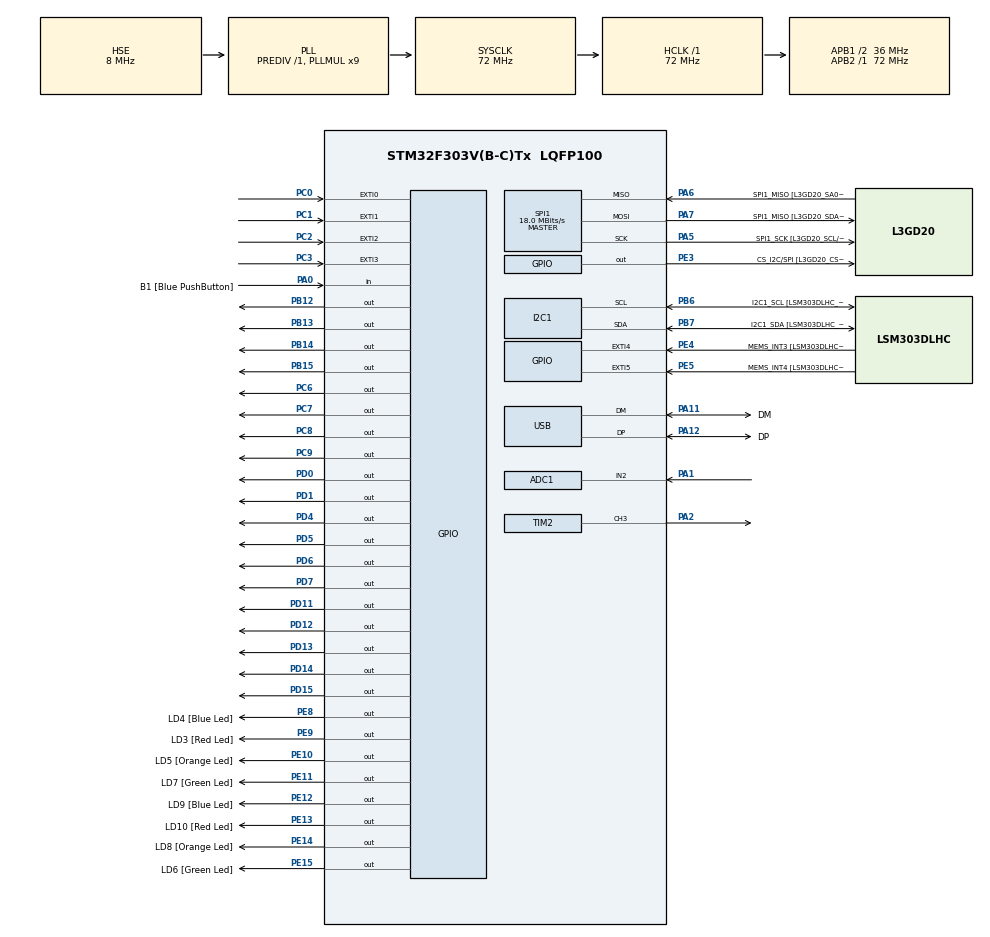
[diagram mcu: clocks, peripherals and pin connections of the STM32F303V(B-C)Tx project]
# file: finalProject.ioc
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ADC1.Channel-0\#ChannelRegularConversion=ADC_CHANNEL_2
ADC1.ContinuousConvMode=DISABLE
ADC1.NbrOfConversionFlag=1
ADC1.Offset-0\#ChannelRegularConversion=0
ADC1.OffsetNumber-0\#ChannelRegularConversion=ADC_OFFSET_NONE
ADC1.Rank-0\#ChannelRegularConversion=1
ADC1.Resolution=ADC_RESOLUTION_6B
ADC1.SamplingTime-0\#ChannelRegularConversion=ADC_SAMPLETIME_601CYCLES_5
ADC1.SamplingTimeOPAMP-0\#ChannelRegularConversion=ADC_SAMPLETIME_61CYCLES_5
ADC1.master=1
I2C1.Timing-I2C=0x2000090E
Mcu.Family=STM32F3
Mcu.Name=STM32F303V(B-C)Tx
Mcu.Package=LQFP100
NVIC.ADC1_2_IRQn=true\:1\:0\:true\:false\:true\:true\:true
NVIC.EXTI0_IRQn=true\:2\:0\:true\:false\:true\:true\:true
NVIC.EXTI1_IRQn=true\:2\:0\:true\:false\:true\:true\:true
NVIC.EXTI2_TSC_IRQn=true\:2\:0\:true\:false\:true\:true\:true
NVIC.EXTI3_IRQn=true\:2\:0\:true\:false\:true\:true\:true
NVIC.PriorityGroup=NVIC_PRIORITYGROUP_2
NVIC.TIM1_BRK_TIM15_IRQn=true\:1\:0\:true\:false\:true\:true\:true
NVIC.TIM3_IRQn=true\:3\:0\:true\:false\:true\:true\:true
NVIC.TIM4_IRQn=true\:2\:0\:true\:false\:true\:true\:true
PA0.GPIO_Label=B1 [Blue PushButton]
PA0.GPIO_PuPd=GPIO_PULLDOWN
PA0.Signal=GPIO_Input
PA1.Mode=IN2-Single-Ended
PA1.Signal=ADC1_IN2
PA11.GPIO_Label=DM
PA11.Mode=Device
PA11.Signal=USB_DM
PA12.GPIO_Label=DP
PA12.Mode=Device
PA12.Signal=USB_DP
PA13.GPIO_Label=SWDIO
PA13.Mode=Serial_Wire
PA13.Signal=SYS_JTMS-SWDIO
PA14.GPIO_Label=SWCLK
PA14.Mode=Serial_Wire
PA14.Signal=SYS_JTCK-SWCLK
PA2.Signal=S_TIM2_CH3
PA5.GPIO_Label=SPI1_SCK [L3GD20_SCL/SPC]
PA5.Mode=Full_Duplex_Master
PA5.Signal=SPI1_SCK
PA6.GPIO_Label=SPI1_MISO [L3GD20_SA0/SDO]
PA6.Mode=Full_Duplex_Master
PA6.Signal=SPI1_MISO
PA7.GPIO_Label=SPI1_MISO [L3GD20_SDA/SDI/SDO]
PA7.Mode=Full_Duplex_Master
PA7.Signal=SPI1_MOSI
PB12.GPIO_ModeDefaultOutputPP=GPIO_MODE_OUTPUT_PP
PB12.GPIO_PuPd=GPIO_PULLDOWN
PB12.GPIO_Speed=GPIO_SPEED_FREQ_MEDIUM
PB12.PinState=GPIO_PIN_RESET
PB12.Signal=GPIO_Output
PB13.GPIO_ModeDefaultOutputPP=GPIO_MODE_OUTPUT_PP
PB13.GPIO_PuPd=GPIO_PULLDOWN
PB13.GPIO_Speed=GPIO_SPEED_FREQ_MEDIUM
PB13.PinState=GPIO_PIN_RESET
PB13.Signal=GPIO_Output
PB14.GPIO_ModeDefaultOutputPP=GPIO_MODE_OUTPUT_PP
PB14.GPIO_PuPd=GPIO_PULLDOWN
PB14.GPIO_Speed=GPIO_SPEED_FREQ_MEDIUM
PB14.PinState=GPIO_PIN_RESET
PB14.Signal=GPIO_Output
PB15.GPIO_ModeDefaultOutputPP=GPIO_MODE_OUTPUT_PP
PB15.GPIO_PuPd=GPIO_PULLDOWN
PB15.GPIO_Speed=GPIO_SPEED_FREQ_MEDIUM
PB15.PinState=GPIO_PIN_RESET
PB15.Signal=GPIO_Output
PB3.GPIO_Label=SWO
PB3.Signal=SYS_JTDO-TRACESWO
PB6.GPIO_Label=I2C1_SCL [LSM303DLHC_SCL]
PB6.GPIO_Pu=GPIO_PULLUP
PB6.Mode=I2C
PB6.Signal=I2C1_SCL
PB7.GPIO_Label=I2C1_SDA [LSM303DLHC_SDA]
PB7.GPIO_Pu=GPIO_PULLUP
PB7.Mode=I2C
PB7.Signal=I2C1_SDA
PC0.GPIO_ModeDefaultEXTI=GPIO_MODE_IT_RISING
PC0.GPIO_PuPd=GPIO_PULLDOWN
PC0.Signal=GPXTI0
PC1.GPIO_ModeDefaultEXTI=GPIO_MODE_IT_RISING
PC1.GPIO_PuPd=GPIO_PULLDOWN
PC1.Signal=GPXTI1
PC14-OSC32_IN.GPIO_Label=OSC32_IN
PC14-OSC32_IN.Signal=RCC_OSC32_IN
PC15-OSC32_OUT.GPIO_Label=OSC32_OUT
PC15-OSC32_OUT.Signal=RCC_OSC32_OUT
PC2.GPIO_ModeDefaultEXTI=GPIO_MODE_IT_RISING
PC2.GPIO_PuPd=GPIO_PULLDOWN
PC2.Signal=GPXTI2
PC3.GPIO_ModeDefaultEXTI=GPIO_MODE_IT_RISING
PC3.GPIO_PuPd=GPIO_PULLDOWN
PC3.Signal=GPXTI3
PC6.Signal=GPIO_Output
PC7.Signal=GPIO_Output
PC8.Signal=GPIO_Output
PC9.Signal=GPIO_Output
PD0.GPIO_ModeDefaultOutputPP=GPIO_MODE_OUTPUT_PP
PD0.GPIO_PuPd=GPIO_PULLDOWN
PD0.GPIO_Speed=GPIO_SPEED_FREQ_MEDIUM
PD0.PinState=GPIO_PIN_RESET
PD0.Signal=GPIO_Output
PD1.GPIO_ModeDefaultOutputPP=GPIO_MODE_OUTPUT_PP
PD1.GPIO_PuPd=GPIO_PULLDOWN
PD1.GPIO_Speed=GPIO_SPEED_FREQ_MEDIUM
PD1.PinState=GPIO_PIN_RESET
PD1.Signal=GPIO_Output
PD11.Signal=GPIO_Output
PD12.Signal=GPIO_Output
PD13.Signal=GPIO_Output
PD14.Signal=GPIO_Output
PD15.Signal=GPIO_Output
PD4.GPIO_ModeDefaultOutputPP=GPIO_MODE_OUTPUT_PP
PD4.GPIO_PuPd=GPIO_PULLDOWN
PD4.GPIO_Speed=GPIO_SPEED_FREQ_MEDIUM
PD4.PinState=GPIO_PIN_RESET
PD4.Signal=GPIO_Output
PD5.GPIO_ModeDefaultOutputPP=GPIO_MODE_OUTPUT_PP
PD5.GPIO_PuPd=GPIO_PULLDOWN
PD5.GPIO_Speed=GPIO_SPEED_FREQ_MEDIUM
PD5.PinState=GPIO_PIN_RESET
PD5.Signal=GPIO_Output
PD6.GPIO_ModeDefaultOutputPP=GPIO_MODE_OUTPUT_PP
PD6.GPIO_PuPd=GPIO_PULLDOWN
PD6.GPIO_Speed=GPIO_SPEED_FREQ_MEDIUM
PD6.PinState=GPIO_PIN_RESET
PD6.Signal=GPIO_Output
PD7.GPIO_ModeDefaultOutputPP=GPIO_MODE_OUTPUT_PP
PD7.GPIO_PuPd=GPIO_PULLDOWN
PD7.GPIO_Speed=GPIO_SPEED_FREQ_MEDIUM
PD7.PinState=GPIO_PIN_RESET
PD7.Signal=GPIO_Output
PE10.GPIO_Label=LD5 [Orange Led]
PE10.Signal=GPIO_Output
PE11.GPIO_Label=LD7 [Green Led]
PE11.Signal=GPIO_Output
PE12.GPIO_Label=LD9 [Blue Led]
PE12.Signal=GPIO_Output
PE13.GPIO_Label=LD10 [Red Led]
PE13.Signal=GPIO_Output
PE14.GPIO_Label=LD8 [Orange Led]
PE14.Signal=GPIO_Output
PE15.GPIO_Label=LD6 [Green Led]
PE15.Signal=GPIO_Output
PE3.GPIO_Label=CS_I2C/SPI [L3GD20_CS_I2C/SPI]
PE3.Signal=GPIO_Output
PE4.GPIO_Label=MEMS_INT3 [LSM303DLHC_INT1]
PE4.GPIO_ModeDefaultEXTI=GPIO_MODE_EVT_RISING
PE4.Signal=GPXTI4
PE5.GPIO_Label=MEMS_INT4 [LSM303DLHC_INT2]
PE5.GPIO_ModeDefaultEXTI=GPIO_MODE_EVT_RISING
PE5.Signal=GPXTI5
PE8.GPIO_Label=LD4 [Blue Led]
PE8.Signal=GPIO_Output
PE9.GPIO_Label=LD3 [Red Led]
PE9.Signal=GPIO_Output
PF0-OSC_IN.GPIO_Label=OSC_IN
PF0-OSC_IN.Mode=HSE-External-Clock-Source
PF0-OSC_IN.Signal=RCC_OSC_IN
PF1-OSC_OUT.GPIO_Label=OSC_OUT
PF1-OSC_OUT.Signal=RCC_OSC_OUT
ProjectManager.HeapSize=0x200
ProjectManager.StackSize=0x400
ProjectManager.TargetToolchain=STM32CubeIDE
RCC.AHBFreq_Value=72000000
RCC.APB1CLKDivider=RCC_HCLK_DIV2
RCC.APB1Freq_Value=36000000
RCC.APB1TimFreq_Value=72000000
RCC.APB2Freq_Value=72000000
RCC.APB2TimFreq_Value=72000000
RCC.CortexFreq_Value=72000000
RCC.HCLKFreq_Value=72000000
RCC.HSE_VALUE=8000000
RCC.HSI_VALUE=8000000
RCC.LSE_VALUE=32768
RCC.PLLMUL=RCC_PLL_MUL9
RCC.PRESCALERUSB=RCC_USBCLKSOURCE_PLL_DIV1_5
RCC.SYSCLKFreq_VALUE=72000000
RCC.SYSCLKSourceVirtual=RCC_SYSCLKSOURCE_PLLCLK
RCC.USBFreq_Value=48000000
SH.S_TIM2_CH3.0=TIM2_CH3,PWM Generation3 CH3
SPI1.BaudRatePrescaler=SPI_BAUDRATEPRESCALER_4
SPI1.BaudRatePrescaler-Full_Duplex_Master=SPI_BAUDRATEPRESCALER_2
SPI1.CalculateBaudRate=18.0 MBits/s
SPI1.CalculateBaudRate-Full_Duplex_Master=24.0 MBits/s
SPI1.Direction=SPI_DIRECTION_2LINES
SPI1.Mode=SPI_MODE_MASTER
SPI1.Mode-Full_Duplex_Master=SPI_MODE_MASTER
SPI1.VirtualType=VM_MASTER
TIM1.Period=10000-1
TIM1.Prescaler=720-1
TIM2.Channel-PWM\ Generation3\ CH3=TIM_CHANNEL_3
TIM2.Period=1000-1
TIM2.Prescaler=72-1
TIM3.Period=10000-1
TIM3.Prescaler=72-1
TIM4.Period=10000-1
TIM4.Prescaler=7200-1
VP_TIM1_VS_ClockSourceINT.Mode=Internal
VP_TIM3_VS_ClockSourceINT.Mode=Internal
VP_TIM4_VS_ClockSourceINT.Mode=Internal
board=STM32F3DISCOVERY

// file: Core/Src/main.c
/* USER CODE BEGIN Header */
/**
  ******************************************************************************
  * @file           : main.c
  * @brief          : Main program body
  ******************************************************************************
  * @attention
  *
  * <h2><center>&copy; Copyright (c) 2022 STMicroelectronics.
  * All rights reserved.</center></h2>
  *
  * This software component is licensed by ST under BSD 3-Clause license,
  * the "License"; You may not use this file except in compliance with the
  * License. You may obtain a copy of the License at:
  *                        opensource.org/licenses/BSD-3-Clause
  *
  ******************************************************************************
  */
/* USER CODE END Header */
#include "main.h"

/* USER CODE BEGIN Includes */
#include "LiquidCrystal.h"
#include <stdbool.h>
#include "Buzzer.h"

#include <stdio.h>
//#include <stdlib.h>
/* USER CODE END Includes */

ADC_HandleTypeDef hadc1;

I2C_HandleTypeDef hi2c1;

SPI_HandleTypeDef hspi1;

TIM_HandleTypeDef htim1;
TIM_HandleTypeDef htim2;
TIM_HandleTypeDef htim3;
TIM_HandleTypeDef htim4;

PCD_HandleTypeDef hpcd_USB_FS;

void SystemClock_Config(void);
static void MX_GPIO_Init(void);
static void MX_I2C1_Init(void);
static void MX_SPI1_Init(void);
static void MX_USB_PCD_Init(void);
static void MX_ADC1_Init(void);
static void MX_TIM2_Init(void);
static void MX_TIM3_Init(void);
static void MX_TIM4_Init(void);
static void MX_TIM1_Init(void);

/* USER CODE BEGIN 0 */

typedef unsigned char byte;

byte doodler[] = {
    0x00,
    0x04,
    0x15,
    0x0F,
    0x15,
    0x04,
    0x00,
    0x00};

byte stair[] = {
    0x06,
    0x06,
    0x06,
    0x06,
    0x06,
    0x06,
    0x06,
    0x06};

byte brokenStair[] = {
    0x06,
    0x06,
    0x06,
    0x00,
    0x00,
    0x06,
    0x06,
    0x06};

byte coil[] = {
    0x00,
    0x00,
    0x1F,
    0x15,
    0x15,
    0x1F,
    0x00,
    0x00};

byte hole[] = {
    0x00,
    0x1F,
    0x10,
    0x10,
    0x10,
    0x10,
    0x1F,
    0x00};

byte monster[] = {
    0x0A,
    0x04,
    0x0E,
    0x0A,
    0x0A,
    0x0E,
    0x04,
    0x0A
};

byte shotCharactor[] = {
  0x00,
  0x00,
  0x0E,
  0x0E,
  0x0E,
  0x0E,
  0x00,
  0x00
};

int board[20][4];
int score = 0;
int difficulty = 5;
int doodlerPosition[2] = {0, 0};
int doodlerDisplacementCount = 1;
int downStatus = 0;
int upStatus = 7;
int lastPosition [2];
int newPosition [2];
int realCharactorInCurrentPosition = -1;
int startMoveDown = 0;
int lockMoving = 1;
int isInOverViewPage = 1;
int isInMenu = 0;
int isInMembersPage = 0;
int isGameStarted = 0;
int isShotInScreen = 0;
int shotPosition[2];
int realCharactorInShotPosiotion;

#define EMPTY_CELL_NUM  -1
#define DOODLER_NUM  0
#define STAIR_NUM  1
#define BROKEN_STAIR_NUM  2
#define COIL_NUM  3
#define HOLE_NUM 4
#define MONSTER_NUM  5
#define SHOT_NUM 6
#define REMOVE  0
#define MOVE  1
#define WRITE  2
#define NORMAL_DOWN_STATUS  0
#define MONSTER_DOWN_STATUS  1
#define NORMAL_UP_STATUS 7
#define COIL_UP_STATUS  15
#define LEFT  -1
#define RIGHT  1
char buffer[32];
int x=5234;
int y=1;

void genarateBoard(int blankRow);
/////////////////////////////kepad////////////////////
uint32_t now = 0;

void initBoard(){
	for (int i=0;i<20;i++){
		for (int j=0;j<4;j++){
			board[i][j]=-1;
		}
	}
}

void shot(){
  realCharactorInShotPosiotion = board[doodlerPosition[0] + 2][doodlerPosition[1]];
  setCursor(doodlerPosition[0] +2, doodlerPosition[1]);
  shotPosition[0] = doodlerPosition[0] +2;
  shotPosition[1] = doodlerPosition[1];
  if(realCharactorInShotPosiotion == MONSTER_NUM){
    print(" ");
    board[shotPosition[0]][shotPosition[1]] = EMPTY_CELL_NUM;
    isShotInScreen = 0;
  } else{
    write(SHOT_NUM);
    isShotInScreen = 1;
  }
}

void print1OnScreen(){
	setCursor(11, 1);
	write(-1);
	setCursor(12, 2);
	write(-1);
	setCursor(11, 2);
	write(-1);
	setCursor(10, 2);
	write(-1);
	setCursor(9, 2);
	write(-1);
	setCursor(8, 2);
	write(-1);
	setCursor(7, 2);
	write(-1);
	setCursor(6, 2);
	write(-1);
}

void print2OnScreen(){
	setCursor(12, 0);
	write(-1);
	setCursor(12, 1);
	write(-1);
	setCursor(12, 2);
	write(-1);
	setCursor(12, 3);
	write(-1);
	setCursor(11, 0);
	write(-1);
	setCursor(11, 3);
	write(-1);
	setCursor(10, 3);
	write(-1);
	setCursor(9, 0);
	write(-1);
	setCursor(9, 1);
	write(-1);
	setCursor(9, 2);
	write(-1);
	setCursor(9, 3);
	write(-1);
	setCursor(8, 0);
	write(-1);
	setCursor(7, 0);
	write(-1);
	setCursor(7, 3);
	write(-1);
	setCursor(6, 0);
	write(-1);
	setCursor(6, 1);
	write(-1);
	setCursor(6, 2);
	write(-1);
	setCursor(6, 3);
	write(-1);
}

void print3OnScreen(){
	setCursor(12, 1);
	write(-1);
	setCursor(12, 2);
	write(-1);
	setCursor(12, 3);
	write(-1);
	setCursor(11, 3);
	write(-1);
	setCursor(10, 3);
	write(-1);
	setCursor(9, 1);
	write(-1);
	setCursor(9, 2);
	write(-1);
	setCursor(9, 3);
	write(-1);
	setCursor(8, 3);
	write(-1);
	setCursor(7, 3);
	write(-1);
	setCursor(6, 1);
	write(-1);
	setCursor(6, 2);
	write(-1);
	setCursor(6, 3);
	write(-1);
}

void clearScreen() {
	for (int i = 0 ; i < 20; i++) {
		for(int j = 0; j < 4; j++) {
			setCursor(i, j);
			print(" ");
		}
	}
}

void startGame(){
	isInMenu = 0;
	clearScreen();
	print1OnScreen();
	clearScreen();
	print2OnScreen();
	clearScreen();
	print3OnScreen();
	clearScreen();
	genarateBoard(20);
	isGameStarted = 1;
	lockMoving = 0;
	HAL_TIM_Base_Start_IT(&htim4);
}

void showGameOverView(){
  isGameStarted = 0;
  lockMoving = 1;
  isInOverViewPage = 1;
  clear();
  setCursor(12,1);
  print("Doolde");
  setCursor(12,2);
  print("Jump");
  setCursor(3,1);
  write(DOODLER_NUM);
  setCursor(4,1);
  write(STAIR_NUM);
  setCursor(5,1);
  write(BROKEN_STAIR_NUM);
  setCursor(6,1);
  write(HOLE_NUM);
  setCursor(7,1);
  write(COIL_NUM);
  setCursor(8,1);
  write(MONSTER_NUM);
  setCursor(3,3);
  print("5.Menu");
//  BUZZER_Play_GameOfThrones();
}

void menu(){
  isInOverViewPage = 0;
  isInMembersPage = 0;
  isInMenu = 1;
  clear();
  setCursor(6,0);
  print("2.Start");
  setCursor(6,2);
  print("3.About");
}

void showGroupMembersName(){
  isInMenu = 0;
  isInMembersPage = 1;
  clear();
  setCursor(5,0);
  print("SaeedRahmani");
  setCursor(5,1);
  print("MohammadRaee");
  setCursor(8,3);
  print("6.Menu");
}

void changeBoard(int lastPosition [], int curPosotion [],int charNum , int moveOrRemoveOrWrite){
  if(moveOrRemoveOrWrite == MOVE){
    board[lastPosition[0]][lastPosition[1]] = EMPTY_CELL_NUM;
    board[curPosotion[0]][curPosotion[1]] = charNum;
  } else if(moveOrRemoveOrWrite == REMOVE){
    board[lastPosition[0]][lastPosition[1]] = EMPTY_CELL_NUM;
  } else if(moveOrRemoveOrWrite == WRITE){
    board[curPosotion[0]][curPosotion[1]] = charNum;
  }
}

void horizontalMoving(int direction){
  changeBoard(doodlerPosition,doodlerPosition,EMPTY_CELL_NUM,WRITE);
  setCursor(doodlerPosition[0],doodlerPosition[1]);
  print(" ");
  if(direction == LEFT){
    if(doodlerPosition[1] > 0){
      doodlerPosition[1] -= 1;
    }else {
      doodlerPosition[1] = 3;
    }
  }else {
    if(doodlerPosition[1] < 3){
      doodlerPosition[1] += 1;
    }else {
      doodlerPosition[1] = 0;
    }
  }
  changeBoard(doodlerPosition,doodlerPosition,DOODLER_NUM,WRITE);
  setCursor(doodlerPosition[0],doodlerPosition[1]);
  write(DOODLER_NUM);
}

void Rows_Set_Mode(uint8_t mode)
{
    HAL_GPIO_WritePin(GPIOB, GPIO_PIN_12, mode ? (GPIO_PIN_SET) : (GPIO_PIN_RESET));
    HAL_GPIO_WritePin(GPIOB, GPIO_PIN_13, mode ? (GPIO_PIN_SET) : (GPIO_PIN_RESET));
    HAL_GPIO_WritePin(GPIOB, GPIO_PIN_14, mode ? (GPIO_PIN_SET) : (GPIO_PIN_RESET));
    HAL_GPIO_WritePin(GPIOB, GPIO_PIN_15, mode ? (GPIO_PIN_SET) : (GPIO_PIN_RESET));
}

uint8_t Get_Pressed_Row(uint16_t GPIO_Pin)
{
	Rows_Set_Mode(0);
	HAL_GPIO_WritePin(GPIOB, GPIO_PIN_12, 1);
	if (HAL_GPIO_ReadPin(GPIOC, GPIO_Pin)==1){
		Rows_Set_Mode(1);
		return 0;

	}
	Rows_Set_Mode(0);
	HAL_GPIO_WritePin(GPIOB, GPIO_PIN_13, 1);
	if (HAL_GPIO_ReadPin(GPIOC, GPIO_Pin)==1){
		Rows_Set_Mode(1);
		return 1;
	}
	Rows_Set_Mode(0);
	HAL_GPIO_WritePin(GPIOB, GPIO_PIN_14, 1);
	if (HAL_GPIO_ReadPin(GPIOC, GPIO_Pin)==1){
		Rows_Set_Mode(1);
		return 2;
	}
	Rows_Set_Mode(0);
	HAL_GPIO_WritePin(GPIOB, GPIO_PIN_15, 1);
	if (HAL_GPIO_ReadPin(GPIOC, GPIO_Pin)==1){
		Rows_Set_Mode(1);
		return 3;
	}
	return 0;
}

void HAL_GPIO_EXTI_Callback(uint16_t GPIO_Pin)
{

	if((HAL_GetTick() - now ) < 600){
		return;
	}
	//LED On board
	HAL_GPIO_TogglePin(GPIOE, GPIO_PIN_8);

	int number = 0, row;
	row = Get_Pressed_Row(GPIO_Pin);
	switch(GPIO_Pin)
	{
		case GPIO_PIN_0:{
			number = 4 * row + 1;
			break;
		}

		case GPIO_PIN_1:{
			number = 4 * row + 2;
			break;
		}
		case GPIO_PIN_2:{
			number = 4 * row + 3;
			break;
		}
		case GPIO_PIN_3:{
			number = 4 * row + 4;
			break;
		}
	}
	Rows_Set_Mode(1);
	now = HAL_GetTick();
	if (number==1 && lockMoving == 0){
		horizontalMoving(LEFT);
	}
	else if(number == 2 && isInMenu == 1) {
		startGame();
	}
	else if(number == 3 && isInMenu == 1){
		showGroupMembersName();
	}
	else if (number==4 && lockMoving == 0){
		horizontalMoving(RIGHT);
	}
	else if (number==5 && isInOverViewPage == 1) {
		menu();
	}
	else if(number == 6 && isInMembersPage == 1){
		menu();
	} else if (number==8 && isShotInScreen==0){
		shot();
	}
}
/////////////////////////////end keypad//////////////////

//////////////////////////// 7 Segment ///////////////////
void numberToBCD(int i){
	int x1=i&1;
	int x2=i&2;
	int x3=i&4;
	int x4=i&8;
	if (x1>0) x1=1;
	if (x2>0) x2=1;
	if (x3>0) x3=1;
	if (x4>0) x4=1;

	HAL_GPIO_WritePin(GPIOD, GPIO_PIN_12, x1);
	HAL_GPIO_WritePin(GPIOD, GPIO_PIN_13, x2);
	HAL_GPIO_WritePin(GPIOD, GPIO_PIN_14, x3);
	HAL_GPIO_WritePin(GPIOD, GPIO_PIN_15, x4);
}

////////////////////////// end 7 segment//////////////////

uint32_t value = 0;
void HAL_ADC_ConvCpltCallback(ADC_HandleTypeDef *hadc)
{
  //	if(hadc->Instance == ADC1)
  //	{

  value = HAL_ADC_GetValue(hadc);
  int tmp=((int)value)%10;
  difficulty=3;
//  HAL_ADC_Start_IT(&hadc1);
  //	}
}

int getRandom(int maxNum){
  int rand_num= rand() % (maxNum);
  return rand_num;
}

void initialCharactorToBoard(int charCount, int charNum, int blankRow){
  for(int i = 0; i < charCount; i++){
    int sw = 1;
    while(sw){
      int row = getRandom(20);
      int col = getRandom(4);
      if(board[19-row][col] == -1){
        board[19-row][col] = charNum;
        sw = 0;
      }
    }
  }
}

int checkStairInsideDoodler(int accessRowCount){
  int sw = 1;
  for(int i = doodlerPosition[0];i<doodlerPosition[0] + accessRowCount && sw ==1;i++){
    for(int j = 0; j<4 && sw==1 ;j++){
      if(board[i][j]==STAIR_NUM) sw=0;
    }
  }
  if(sw==1) return 0;
  else return 1;
}

bool validateInitializeBoard(int blankRow){
  int sw = 1;
  for(int i = 20-blankRow; i<20 && sw==1; i++){
    if(board[i][0]==HOLE_NUM && board[i][1]==HOLE_NUM && board[i][2]==HOLE_NUM && board[i][3]==HOLE_NUM ){
       sw = 0;
     }
     else if(board[i][0]==MONSTER_NUM && board[i][1]==MONSTER_NUM && board[i][2]==MONSTER_NUM && board[i][3]==MONSTER_NUM ){
       sw = 0;
     }
  }
  if(sw == 1){
    sw = checkStairInsideDoodler(upStatus);
  }
  if(sw == 1) return true;
  else return false;
}

void updateScore(int upCount){
  score += upCount;
}

void changeShot(){
  setCursor(shotPosition[0],shotPosition[1]);
  print(" ");
  shotPosition[0] -= newPosition[0];
  setCursor(shotPosition[0],shotPosition[1]);
  write(SHOT_NUM);
}

void pageUp(){
  if(newPosition[0] != 0){
    for(int i = 0; i < newPosition[0]; i++){
      for(int j = 0; j < 4; j++){
        if(board[i][j] != EMPTY_CELL_NUM){
          board[i][j] = EMPTY_CELL_NUM;
          setCursor(i,j);
          print(" ");
        }
      }
    }
    for(int i=newPosition[0];i<20;i++){
      for(int j =0 ; j<4; j++){
        if(board[i][j] != EMPTY_CELL_NUM){
          setCursor(i,j);
          print(" ");
          setCursor(i-newPosition[0],j);
          write(board[i][j]);
          board[i-newPosition[0]][j]=board[i][j];
          board[i][j] = EMPTY_CELL_NUM;
        }
      }
    }
    if (isShotInScreen==1){
    	changeShot();
    }

    doodlerPosition[0] -= newPosition[0];
    genarateBoard(newPosition[0]);
    updateScore(newPosition[0]+1);
  }
}

void printBoard(int minRow){
  for(int i = minRow; i< 20;i++){
    for(int j = 0; j<4;j++){
      if(board[i][j] != -1){
        setCursor(i,j);
        write(board[i][j]);
      }
    }
  }
}

void genarateBoard(int blankRow) {
  int randomMaxNum = difficulty;
  int stairCount;
  int brokenStairCount;
  int holeCount;
  int monsterCount;
  int coilCount;

  int stairDificaltyScore = 5;
  int brokenStairDificultyScore = -3;
  int holeDificultyScore = -30;
  int coilDificultyScore = 8;
  int monsterDificultyScore = -30;

  while(1){
    stairCount = getRandom(randomMaxNum);
    brokenStairCount = getRandom(randomMaxNum);
    holeCount = getRandom(randomMaxNum);
    coilCount = getRandom(randomMaxNum);
    monsterCount = getRandom(randomMaxNum);

    int difficultyScore = stairCount * stairDificaltyScore + brokenStairCount * brokenStairDificultyScore + holeCount * holeDificultyScore + coilCount * coilDificultyScore + monsterCount * monsterDificultyScore;

    if(difficultyScore < randomMaxNum *(-10)){
      initialCharactorToBoard(stairCount,STAIR_NUM,blankRow);
      initialCharactorToBoard(brokenStairCount,BROKEN_STAIR_NUM,blankRow);
      initialCharactorToBoard(holeCount,HOLE_NUM,blankRow);
      initialCharactorToBoard(coilCount,COIL_NUM,blankRow);
      initialCharactorToBoard(monsterCount,MONSTER_NUM,blankRow);
      if(validateInitializeBoard(blankRow)){
        printBoard(20-blankRow);
        break;
      }
    }
  }
}

void crashEmptyCell(){
  setCursor(lastPosition[0], lastPosition[1]);
  if(startMoveDown == 1){
	  if (realCharactorInCurrentPosition==-1){
		  print(" ");
	  }else{
		  write(realCharactorInCurrentPosition);
	  }
    startMoveDown = 0;
    changeBoard(lastPosition,lastPosition,realCharactorInCurrentPosition,WRITE);
  }
  else {
    print(" ");
    changeBoard(lastPosition,lastPosition,EMPTY_CELL_NUM,WRITE);
  }
  setCursor(newPosition[0], newPosition[1]);
  write(DOODLER_NUM);
  doodlerPosition[0] =  newPosition[0];
  changeBoard(doodlerPosition,doodlerPosition,DOODLER_NUM,WRITE);
}

void crashStair(){
  doodlerDisplacementCount = 1;
  pageUp();
}

void crashBrokenStair(){
  setCursor(lastPosition[0], lastPosition[1]);
  if(startMoveDown == 1){
	  if (realCharactorInCurrentPosition==-1){
		  print(" ");
	  }else{
		  write(realCharactorInCurrentPosition);
	  }
      startMoveDown = 0;
      changeBoard(lastPosition,lastPosition,realCharactorInCurrentPosition,WRITE);
  }
  else {
      print(" ");
      changeBoard(lastPosition,lastPosition,EMPTY_CELL_NUM,WRITE);
  }
  setCursor(newPosition[0], newPosition[1]);
  write(DOODLER_NUM);
  doodlerPosition[0] =  newPosition[0];
  changeBoard(doodlerPosition,doodlerPosition,DOODLER_NUM,WRITE);
}

void crashCoil(){
  doodlerDisplacementCount = 1;
  upStatus = COIL_UP_STATUS;
  pageUp();
}

void gameOver(){
	lockMoving = 1;
    HAL_TIM_Base_Stop_IT(&htim4);
	clear();
	setCursor(5,1);
	print("Game Over !");
	clearScreen();
	setCursor(8,1);
	print("score: ");
	sprintf(buffer,"%d",score);
	setCursor(15,1);
	print(buffer);
    BUZZER_Play_Doom();
}

void crashHole(){
  gameOver();
}

void crashMonster(){
  lockMoving = 1;
  doodlerDisplacementCount = -1;
  downStatus = MONSTER_DOWN_STATUS;
}

void checkDownChange(){
  if(newPosition[0] == -1){
    gameOver();
  }
  else{
    switch( board[newPosition[0]][newPosition[1]] ){
      case EMPTY_CELL_NUM: {
        crashEmptyCell();
        break;
      } case STAIR_NUM: {
        crashStair();
        break;
      } case BROKEN_STAIR_NUM :{
        crashBrokenStair();
        break;
      } case COIL_NUM : {
        crashCoil();
        break;
      } case HOLE_NUM : {
        crashHole();
        break;
      } case MONSTER_NUM : {
        crashMonster();
        break;
      }
    }
  }
}

void setLastAndNewPosition(int moveDirecrion){
  lastPosition[0] = doodlerPosition[0];
  lastPosition[1] = doodlerPosition[1];
  newPosition[0] = doodlerPosition[0]+moveDirecrion ;
  newPosition[1] = doodlerPosition[1];
}

void normalMoveDown(){
  setLastAndNewPosition(-1);
  checkDownChange();
}

void crashMonsterMoveDown(){
  setLastAndNewPosition(-1);
  if(newPosition[0] < 0){
    gameOver();
  } else{
    setCursor(lastPosition[0], lastPosition[1]);
    print(" ");
    setCursor(newPosition[0], newPosition[1]);
    write(DOODLER_NUM);
    doodlerPosition[0] =  newPosition[0];
  }
}

void checkUpChange(){
  if(doodlerDisplacementCount == 1){
	  setCursor(lastPosition[0], lastPosition[1]);
	  print(" ");
	  changeBoard(lastPosition,lastPosition,EMPTY_CELL_NUM,WRITE);
	  realCharactorInCurrentPosition = board[newPosition[0]][newPosition[1]];
	  setCursor(newPosition[0], newPosition[1]);
	  write(DOODLER_NUM);
	  doodlerPosition[0] =  newPosition[0];
	  changeBoard(newPosition,newPosition,DOODLER_NUM,WRITE);
   }else if(realCharactorInCurrentPosition == HOLE_NUM){
		crashHole();
   }else if(realCharactorInCurrentPosition == MONSTER_NUM){
		crashMonster();
   }else {
	  setCursor(lastPosition[0], lastPosition[1]);
	  changeBoard(lastPosition,lastPosition,realCharactorInCurrentPosition,WRITE);
	  if (realCharactorInCurrentPosition==-1){
		  print(" ");
	  }else{
		  write(realCharactorInCurrentPosition);
	  }
	  realCharactorInCurrentPosition = board[newPosition[0]][newPosition[1]];
	  setCursor(newPosition[0], newPosition[1]);
	  write(DOODLER_NUM);
	  doodlerPosition[0] =  newPosition[0];
	  changeBoard(newPosition,newPosition,DOODLER_NUM,WRITE);
  }
}

void moveUp(int countMoveUP){
  setLastAndNewPosition(1);
  checkUpChange();
  doodlerDisplacementCount += 1;
  if (doodlerDisplacementCount == countMoveUP) {
    doodlerDisplacementCount = -1;
    startMoveDown = 1;
  }
}

void changeDoodlerPosition(int moveDirecrion) {
  if (moveDirecrion == 1) {
    switch (upStatus){
      case NORMAL_UP_STATUS:{
        moveUp(8);
        break;
      }case COIL_UP_STATUS : {
        moveUp(16);
        break;
      }
    }
  }
  else if (moveDirecrion == -1) {
    switch(downStatus){
      case NORMAL_DOWN_STATUS: {
        normalMoveDown();
        break;
      }
      case MONSTER_DOWN_STATUS: {
        crashMonsterMoveDown();
        break;
      }
    }
  }
}

void moveShot(){
  setCursor(shotPosition[0],shotPosition[1]);
  if(realCharactorInShotPosiotion == -1){
    print(" ");
  } else {
    write(realCharactorInShotPosiotion);
  }
  shotPosition[0] += 1;
  if(shotPosition[0] < 20){
    realCharactorInShotPosiotion = board[shotPosition[0]][shotPosition[1]];
    setCursor(shotPosition[0],shotPosition[1]);
    if(realCharactorInShotPosiotion == MONSTER_NUM){
      print(" ");
      board[shotPosition[0]][shotPosition[1]] = EMPTY_CELL_NUM;
      isShotInScreen = 0;
    } else {
      write(SHOT_NUM);
    }
  } else {
    isShotInScreen = 0;
  }
}

void moveDoodler() {
  if (doodlerDisplacementCount >= 1) {
    changeDoodlerPosition(1);
  }
  else {
    changeDoodlerPosition(-1);
  }
  if(isShotInScreen==1){
  	moveShot();
  }
}

bool stopFlag = true;
void HAL_TIM_PeriodElapsedCallback(TIM_HandleTypeDef *htim) {

  if (htim->Instance == TIM3) // TIM3 for controlling the buzzer
  {

	  x=score+difficulty*1000;

	  HAL_GPIO_TogglePin(GPIOE, GPIO_PIN_8);
//   0
	  HAL_GPIO_WritePin(GPIOC, GPIO_PIN_6|GPIO_PIN_7|GPIO_PIN_8|GPIO_PIN_9, 0);

	  //9
	  HAL_GPIO_WritePin(GPIOC, GPIO_PIN_6|GPIO_PIN_7|GPIO_PIN_8, 1);
	  numberToBCD(x%10);
	  y=x/10;
	  HAL_Delay(5);

	  //8
	  HAL_GPIO_WritePin(GPIOC, GPIO_PIN_8, 0);
	  HAL_GPIO_WritePin(GPIOC, GPIO_PIN_6|GPIO_PIN_7|GPIO_PIN_9, 1);
	  HAL_GPIO_WritePin(GPIOC, GPIO_PIN_12,1);
	  numberToBCD(y%10);
	  y=y/10;
	  HAL_Delay(5);

	  //7
//	  HAL_GPIO_WritePin(GPIOC, GPIO_PIN_12,0);decimal
	  HAL_GPIO_WritePin(GPIOC, GPIO_PIN_7, 0);
	  HAL_GPIO_WritePin(GPIOC, GPIO_PIN_6|GPIO_PIN_8|GPIO_PIN_9, 1);
	  numberToBCD(y%10);
	  y=y/10;
	  HAL_Delay(5);

	  //6
	  HAL_GPIO_WritePin(GPIOC, GPIO_PIN_6, 0);
	  HAL_GPIO_WritePin(GPIOC, GPIO_PIN_7|GPIO_PIN_8|GPIO_PIN_9, 1);
	  numberToBCD(y%10);
	  y=y/10;
	  HAL_Delay(5);

//	if(stopFlag)
//	{
//		HAL_TIM_PWM_Stop(&htim2, TIM_CHANNEL_3);
//		stopFlag = false;
//	}
//	else
//	{
//		HAL_TIM_PWM_Start(&htim2, TIM_CHANNEL_3);
//		stopFlag = true;
//	}
  }
  if (htim->Instance == TIM4){
	  if(isGameStarted == 1){
		  moveDoodler();
	  }

   }
  if (htim->Instance == TIM1){
	  if(isShotInScreen==1){
		  moveShot();
	  }
   }
}

/* USER CODE END 0 */

int main(void)
{

  /* MCU Configuration--------------------------------------------------------*/

  /* Reset of all peripherals, Initializes the Flash interface and the Systick. */
  HAL_Init();

  /* Configure the system clock */
  SystemClock_Config();

  /* Initialize all configured peripherals */
  MX_GPIO_Init();
  MX_I2C1_Init();
  MX_SPI1_Init();
  MX_USB_PCD_Init();
  MX_ADC1_Init();
  MX_TIM2_Init();
  MX_TIM3_Init();
  MX_TIM4_Init();
  MX_TIM1_Init();
  /* USER CODE BEGIN 2 */
  //  bool x = false;

  Rows_Set_Mode(1);
  ///////////////////////////////////////////////////////////////////////////////////////////////////
  LiquidCrystal(GPIOD, GPIO_PIN_0, 0, GPIO_PIN_1, GPIO_PIN_4, GPIO_PIN_5, GPIO_PIN_6, GPIO_PIN_7);
  begin(20, 4);
  createChar(DOODLER_NUM, doodler);
  createChar(STAIR_NUM, stair);
  createChar(BROKEN_STAIR_NUM, brokenStair);
  createChar(COIL_NUM, coil);
  createChar(HOLE_NUM, hole);
  createChar(MONSTER_NUM, monster);
  setCursor(0, 0);
  createChar(SHOT_NUM,shotCharactor);
  ///////////////////////////////////////////////////////////////////////////////////////////////////
  HAL_ADC_Start_IT(&hadc1);
//  HAL_TIM_PWM_Start(&htim2, TIM_CHANNEL_3);

//  htim2.Instance->CCR3 = 50;

  initBoard();
  BUZZER_SetTIM(&htim2, TIM_CHANNEL_3);
  board[0][2] = DOODLER_NUM;
  doodlerPosition[0] = 0;
  doodlerPosition[1] = 2;
  srand(value);
  showGameOverView();
//  genarateBoard(20);

//  for(int i = 0 ; i < 30; i++){
//	  HAL_Delay(1000);
//	  moveDoodler();
//  }

  HAL_TIM_Base_Start_IT(&htim3);
//  HAL_TIM_Base_Start_IT(&htim4);
  HAL_TIM_Base_Start_IT(&htim1);

  /* USER CODE END 2 */

  /* Infinite loop */
  while (1)
  {

  }
}

void SystemClock_Config(void)
{
  RCC_OscInitTypeDef RCC_OscInitStruct = {0};
  RCC_ClkInitTypeDef RCC_ClkInitStruct = {0};
  RCC_PeriphCLKInitTypeDef PeriphClkInit = {0};

  /** Initializes the RCC Oscillators according to the specified parameters
  * in the RCC_OscInitTypeDef structure.
  */
  RCC_OscInitStruct.OscillatorType = RCC_OSCILLATORTYPE_HSI|RCC_OSCILLATORTYPE_HSE;
  RCC_OscInitStruct.HSEState = RCC_HSE_BYPASS;
  RCC_OscInitStruct.HSEPredivValue = RCC_HSE_PREDIV_DIV1;
  RCC_OscInitStruct.HSIState = RCC_HSI_ON;
  RCC_OscInitStruct.HSICalibrationValue = RCC_HSICALIBRATION_DEFAULT;
  RCC_OscInitStruct.PLL.PLLState = RCC_PLL_ON;
  RCC_OscInitStruct.PLL.PLLSource = RCC_PLLSOURCE_HSE;
  RCC_OscInitStruct.PLL.PLLMUL = RCC_PLL_MUL9;
  if (HAL_RCC_OscConfig(&RCC_OscInitStruct) != HAL_OK)
  {
    Error_Handler();
  }
  /** Initializes the CPU, AHB and APB buses clocks
  */
  RCC_ClkInitStruct.ClockType = RCC_CLOCKTYPE_HCLK|RCC_CLOCKTYPE_SYSCLK
                              |RCC_CLOCKTYPE_PCLK1|RCC_CLOCKTYPE_PCLK2;
  RCC_ClkInitStruct.SYSCLKSource = RCC_SYSCLKSOURCE_PLLCLK;
  RCC_ClkInitStruct.AHBCLKDivider = RCC_SYSCLK_DIV1;
  RCC_ClkInitStruct.APB1CLKDivider = RCC_HCLK_DIV2;
  RCC_ClkInitStruct.APB2CLKDivider = RCC_HCLK_DIV1;

  if (HAL_RCC_ClockConfig(&RCC_ClkInitStruct, FLASH_LATENCY_2) != HAL_OK)
  {
    Error_Handler();
  }
  PeriphClkInit.PeriphClockSelection = RCC_PERIPHCLK_USB|RCC_PERIPHCLK_I2C1
                              |RCC_PERIPHCLK_TIM1|RCC_PERIPHCLK_ADC12;
  PeriphClkInit.Adc12ClockSelection = RCC_ADC12PLLCLK_DIV1;
  PeriphClkInit.I2c1ClockSelection = RCC_I2C1CLKSOURCE_HSI;
  PeriphClkInit.USBClockSelection = RCC_USBCLKSOURCE_PLL_DIV1_5;
  PeriphClkInit.Tim1ClockSelection = RCC_TIM1CLK_HCLK;
  if (HAL_RCCEx_PeriphCLKConfig(&PeriphClkInit) != HAL_OK)
  {
    Error_Handler();
  }
}

static void MX_ADC1_Init(void)
{

  ADC_MultiModeTypeDef multimode = {0};
  ADC_ChannelConfTypeDef sConfig = {0};

  /** Common config
  */
  hadc1.Instance = ADC1;
  hadc1.Init.ClockPrescaler = ADC_CLOCK_ASYNC_DIV1;
  hadc1.Init.Resolution = ADC_RESOLUTION_6B;
  hadc1.Init.ScanConvMode = ADC_SCAN_DISABLE;
  hadc1.Init.ContinuousConvMode = DISABLE;
  hadc1.Init.DiscontinuousConvMode = DISABLE;
  hadc1.Init.ExternalTrigConvEdge = ADC_EXTERNALTRIGCONVEDGE_NONE;
  hadc1.Init.ExternalTrigConv = ADC_SOFTWARE_START;
  hadc1.Init.DataAlign = ADC_DATAALIGN_RIGHT;
  hadc1.Init.NbrOfConversion = 1;
  hadc1.Init.DMAContinuousRequests = DISABLE;
  hadc1.Init.EOCSelection = ADC_EOC_SINGLE_CONV;
  hadc1.Init.LowPowerAutoWait = DISABLE;
  hadc1.Init.Overrun = ADC_OVR_DATA_OVERWRITTEN;
  if (HAL_ADC_Init(&hadc1) != HAL_OK)
  {
    Error_Handler();
  }
  /** Configure the ADC multi-mode
  */
  multimode.Mode = ADC_MODE_INDEPENDENT;
  if (HAL_ADCEx_MultiModeConfigChannel(&hadc1, &multimode) != HAL_OK)
  {
    Error_Handler();
  }
  /** Configure Regular Channel
  */
  sConfig.Channel = ADC_CHANNEL_2;
  sConfig.Rank = ADC_REGULAR_RANK_1;
  sConfig.SingleDiff = ADC_SINGLE_ENDED;
  sConfig.SamplingTime = ADC_SAMPLETIME_601CYCLES_5;
  sConfig.OffsetNumber = ADC_OFFSET_NONE;
  sConfig.Offset = 0;
  if (HAL_ADC_ConfigChannel(&hadc1, &sConfig) != HAL_OK)
  {
    Error_Handler();
  }

}

static void MX_I2C1_Init(void)
{

  hi2c1.Instance = I2C1;
  hi2c1.Init.Timing = 0x2000090E;
  hi2c1.Init.OwnAddress1 = 0;
  hi2c1.Init.AddressingMode = I2C_ADDRESSINGMODE_7BIT;
  hi2c1.Init.DualAddressMode = I2C_DUALADDRESS_DISABLE;
  hi2c1.Init.OwnAddress2 = 0;
  hi2c1.Init.OwnAddress2Masks = I2C_OA2_NOMASK;
  hi2c1.Init.GeneralCallMode = I2C_GENERALCALL_DISABLE;
  hi2c1.Init.NoStretchMode = I2C_NOSTRETCH_DISABLE;
  if (HAL_I2C_Init(&hi2c1) != HAL_OK)
  {
    Error_Handler();
  }
  /** Configure Analogue filter
  */
  if (HAL_I2CEx_ConfigAnalogFilter(&hi2c1, I2C_ANALOGFILTER_ENABLE) != HAL_OK)
  {
    Error_Handler();
  }
  /** Configure Digital filter
  */
  if (HAL_I2CEx_ConfigDigitalFilter(&hi2c1, 0) != HAL_OK)
  {
    Error_Handler();
  }

}

static void MX_SPI1_Init(void)
{

  /* SPI1 parameter configuration*/
  hspi1.Instance = SPI1;
  hspi1.Init.Mode = SPI_MODE_MASTER;
  hspi1.Init.Direction = SPI_DIRECTION_2LINES;
  hspi1.Init.DataSize = SPI_DATASIZE_4BIT;
  hspi1.Init.CLKPolarity = SPI_POLARITY_LOW;
  hspi1.Init.CLKPhase = SPI_PHASE_1EDGE;
  hspi1.Init.NSS = SPI_NSS_SOFT;
  hspi1.Init.BaudRatePrescaler = SPI_BAUDRATEPRESCALER_4;
  hspi1.Init.FirstBit = SPI_FIRSTBIT_MSB;
  hspi1.Init.TIMode = SPI_TIMODE_DISABLE;
  hspi1.Init.CRCCalculation = SPI_CRCCALCULATION_DISABLE;
  hspi1.Init.CRCPolynomial = 7;
  hspi1.Init.CRCLength = SPI_CRC_LENGTH_DATASIZE;
  hspi1.Init.NSSPMode = SPI_NSS_PULSE_ENABLE;
  if (HAL_SPI_Init(&hspi1) != HAL_OK)
  {
    Error_Handler();
  }

}

static void MX_TIM1_Init(void)
{

  TIM_ClockConfigTypeDef sClockSourceConfig = {0};
  TIM_MasterConfigTypeDef sMasterConfig = {0};

  htim1.Instance = TIM1;
  htim1.Init.Prescaler = 720-1;
  htim1.Init.CounterMode = TIM_COUNTERMODE_UP;
  htim1.Init.Period = 10000-1;
  htim1.Init.ClockDivision = TIM_CLOCKDIVISION_DIV1;
  htim1.Init.RepetitionCounter = 0;
  htim1.Init.AutoReloadPreload = TIM_AUTORELOAD_PRELOAD_DISABLE;
  if (HAL_TIM_Base_Init(&htim1) != HAL_OK)
  {
    Error_Handler();
  }
  sClockSourceConfig.ClockSource = TIM_CLOCKSOURCE_INTERNAL;
  if (HAL_TIM_ConfigClockSource(&htim1, &sClockSourceConfig) != HAL_OK)
  {
    Error_Handler();
  }
  sMasterConfig.MasterOutputTrigger = TIM_TRGO_RESET;
  sMasterConfig.MasterOutputTrigger2 = TIM_TRGO2_RESET;
  sMasterConfig.MasterSlaveMode = TIM_MASTERSLAVEMODE_DISABLE;
  if (HAL_TIMEx_MasterConfigSynchronization(&htim1, &sMasterConfig) != HAL_OK)
  {
    Error_Handler();
  }

}

static void MX_TIM2_Init(void)
{

  TIM_MasterConfigTypeDef sMasterConfig = {0};
  TIM_OC_InitTypeDef sConfigOC = {0};

  htim2.Instance = TIM2;
  htim2.Init.Prescaler = 72-1;
  htim2.Init.CounterMode = TIM_COUNTERMODE_UP;
  htim2.Init.Period = 1000-1;
  htim2.Init.ClockDivision = TIM_CLOCKDIVISION_DIV1;
  htim2.Init.AutoReloadPreload = TIM_AUTORELOAD_PRELOAD_DISABLE;
  if (HAL_TIM_PWM_Init(&htim2) != HAL_OK)
  {
    Error_Handler();
  }
  sMasterConfig.MasterOutputTrigger = TIM_TRGO_RESET;
  sMasterConfig.MasterSlaveMode = TIM_MASTERSLAVEMODE_DISABLE;
  if (HAL_TIMEx_MasterConfigSynchronization(&htim2, &sMasterConfig) != HAL_OK)
  {
    Error_Handler();
  }
  sConfigOC.OCMode = TIM_OCMODE_PWM1;
  sConfigOC.Pulse = 0;
  sConfigOC.OCPolarity = TIM_OCPOLARITY_HIGH;
  sConfigOC.OCFastMode = TIM_OCFAST_DISABLE;
  if (HAL_TIM_PWM_ConfigChannel(&htim2, &sConfigOC, TIM_CHANNEL_3) != HAL_OK)
  {
    Error_Handler();
  }
  HAL_TIM_MspPostInit(&htim2);

}

static void MX_TIM3_Init(void)
{

  TIM_ClockConfigTypeDef sClockSourceConfig = {0};
  TIM_MasterConfigTypeDef sMasterConfig = {0};

  htim3.Instance = TIM3;
  htim3.Init.Prescaler = 72-1;
  htim3.Init.CounterMode = TIM_COUNTERMODE_UP;
  htim3.Init.Period = 10000-1;
  htim3.Init.ClockDivision = TIM_CLOCKDIVISION_DIV1;
  htim3.Init.AutoReloadPreload = TIM_AUTORELOAD_PRELOAD_DISABLE;
  if (HAL_TIM_Base_Init(&htim3) != HAL_OK)
  {
    Error_Handler();
  }
  sClockSourceConfig.ClockSource = TIM_CLOCKSOURCE_INTERNAL;
  if (HAL_TIM_ConfigClockSource(&htim3, &sClockSourceConfig) != HAL_OK)
  {
    Error_Handler();
  }
  sMasterConfig.MasterOutputTrigger = TIM_TRGO_RESET;
  sMasterConfig.MasterSlaveMode = TIM_MASTERSLAVEMODE_DISABLE;
  if (HAL_TIMEx_MasterConfigSynchronization(&htim3, &sMasterConfig) != HAL_OK)
  {
    Error_Handler();
  }

}

static void MX_TIM4_Init(void)
{

  TIM_ClockConfigTypeDef sClockSourceConfig = {0};
  TIM_MasterConfigTypeDef sMasterConfig = {0};

  htim4.Instance = TIM4;
  htim4.Init.Prescaler = 7200-1;
  htim4.Init.CounterMode = TIM_COUNTERMODE_UP;
  htim4.Init.Period = 10000-1;
  htim4.Init.ClockDivision = TIM_CLOCKDIVISION_DIV1;
  htim4.Init.AutoReloadPreload = TIM_AUTORELOAD_PRELOAD_DISABLE;
  if (HAL_TIM_Base_Init(&htim4) != HAL_OK)
  {
    Error_Handler();
  }
  sClockSourceConfig.ClockSource = TIM_CLOCKSOURCE_INTERNAL;
  if (HAL_TIM_ConfigClockSource(&htim4, &sClockSourceConfig) != HAL_OK)
  {
    Error_Handler();
  }
  sMasterConfig.MasterOutputTrigger = TIM_TRGO_RESET;
  sMasterConfig.MasterSlaveMode = TIM_MASTERSLAVEMODE_DISABLE;
  if (HAL_TIMEx_MasterConfigSynchronization(&htim4, &sMasterConfig) != HAL_OK)
  {
    Error_Handler();
  }

}

static void MX_USB_PCD_Init(void)
{

  hpcd_USB_FS.Instance = USB;
  hpcd_USB_FS.Init.dev_endpoints = 8;
  hpcd_USB_FS.Init.speed = PCD_SPEED_FULL;
  hpcd_USB_FS.Init.phy_itface = PCD_PHY_EMBEDDED;
  hpcd_USB_FS.Init.low_power_enable = DISABLE;
  hpcd_USB_FS.Init.battery_charging_enable = DISABLE;
  if (HAL_PCD_Init(&hpcd_USB_FS) != HAL_OK)
  {
    Error_Handler();
  }

}

static void MX_GPIO_Init(void)
{
  GPIO_InitTypeDef GPIO_InitStruct = {0};

  /* GPIO Ports Clock Enable */
  __HAL_RCC_GPIOE_CLK_ENABLE();
  __HAL_RCC_GPIOC_CLK_ENABLE();
  __HAL_RCC_GPIOF_CLK_ENABLE();
  __HAL_RCC_GPIOA_CLK_ENABLE();
  __HAL_RCC_GPIOB_CLK_ENABLE();
  __HAL_RCC_GPIOD_CLK_ENABLE();

  /*Configure GPIO pin Output Level */
  HAL_GPIO_WritePin(GPIOE, CS_I2C_SPI_Pin|LD4_Pin|LD3_Pin|LD5_Pin
                          |LD7_Pin|LD9_Pin|LD10_Pin|LD8_Pin
                          |LD6_Pin, GPIO_PIN_RESET);

  /*Configure GPIO pin Output Level */
  HAL_GPIO_WritePin(GPIOB, GPIO_PIN_12|GPIO_PIN_13|GPIO_PIN_14|GPIO_PIN_15, GPIO_PIN_RESET);

  /*Configure GPIO pin Output Level */
  HAL_GPIO_WritePin(GPIOD, GPIO_PIN_11|GPIO_PIN_12|GPIO_PIN_13|GPIO_PIN_14
                          |GPIO_PIN_15|GPIO_PIN_0|GPIO_PIN_1|GPIO_PIN_4
                          |GPIO_PIN_5|GPIO_PIN_6|GPIO_PIN_7, GPIO_PIN_RESET);

  /*Configure GPIO pin Output Level */
  HAL_GPIO_WritePin(GPIOC, GPIO_PIN_6|GPIO_PIN_7|GPIO_PIN_8|GPIO_PIN_9, GPIO_PIN_RESET);

  /*Configure GPIO pins : CS_I2C_SPI_Pin LD4_Pin LD3_Pin LD5_Pin
                           LD7_Pin LD9_Pin LD10_Pin LD8_Pin
                           LD6_Pin */
  GPIO_InitStruct.Pin = CS_I2C_SPI_Pin|LD4_Pin|LD3_Pin|LD5_Pin
                          |LD7_Pin|LD9_Pin|LD10_Pin|LD8_Pin
                          |LD6_Pin;
  GPIO_InitStruct.Mode = GPIO_MODE_OUTPUT_PP;
  GPIO_InitStruct.Pull = GPIO_NOPULL;
  GPIO_InitStruct.Speed = GPIO_SPEED_FREQ_LOW;
  HAL_GPIO_Init(GPIOE, &GPIO_InitStruct);

  /*Configure GPIO pins : MEMS_INT3_Pin MEMS_INT4_Pin */
  GPIO_InitStruct.Pin = MEMS_INT3_Pin|MEMS_INT4_Pin;
  GPIO_InitStruct.Mode = GPIO_MODE_EVT_RISING;
  GPIO_InitStruct.Pull = GPIO_NOPULL;
  HAL_GPIO_Init(GPIOE, &GPIO_InitStruct);

  /*Configure GPIO pins : PC0 PC1 PC2 PC3 */
  GPIO_InitStruct.Pin = GPIO_PIN_0|GPIO_PIN_1|GPIO_PIN_2|GPIO_PIN_3;
  GPIO_InitStruct.Mode = GPIO_MODE_IT_RISING;
  GPIO_InitStruct.Pull = GPIO_PULLDOWN;
  HAL_GPIO_Init(GPIOC, &GPIO_InitStruct);

  /*Configure GPIO pin : B1_Pin */
  GPIO_InitStruct.Pin = B1_Pin;
  GPIO_InitStruct.Mode = GPIO_MODE_INPUT;
  GPIO_InitStruct.Pull = GPIO_PULLDOWN;
  HAL_GPIO_Init(B1_GPIO_Port, &GPIO_InitStruct);

  /*Configure GPIO pins : PB12 PB13 PB14 PB15 */
  GPIO_InitStruct.Pin = GPIO_PIN_12|GPIO_PIN_13|GPIO_PIN_14|GPIO_PIN_15;
  GPIO_InitStruct.Mode = GPIO_MODE_OUTPUT_PP;
  GPIO_InitStruct.Pull = GPIO_PULLDOWN;
  GPIO_InitStruct.Speed = GPIO_SPEED_FREQ_MEDIUM;
  HAL_GPIO_Init(GPIOB, &GPIO_InitStruct);

  /*Configure GPIO pins : PD11 PD12 PD13 PD14
                           PD15 */
  GPIO_InitStruct.Pin = GPIO_PIN_11|GPIO_PIN_12|GPIO_PIN_13|GPIO_PIN_14
                          |GPIO_PIN_15;
  GPIO_InitStruct.Mode = GPIO_MODE_OUTPUT_PP;
  GPIO_InitStruct.Pull = GPIO_NOPULL;
  GPIO_InitStruct.Speed = GPIO_SPEED_FREQ_LOW;
  HAL_GPIO_Init(GPIOD, &GPIO_InitStruct);

  /*Configure GPIO pins : PC6 PC7 PC8 PC9 */
  GPIO_InitStruct.Pin = GPIO_PIN_6|GPIO_PIN_7|GPIO_PIN_8|GPIO_PIN_9;
  GPIO_InitStruct.Mode = GPIO_MODE_OUTPUT_PP;
  GPIO_InitStruct.Pull = GPIO_NOPULL;
  GPIO_InitStruct.Speed = GPIO_SPEED_FREQ_LOW;
  HAL_GPIO_Init(GPIOC, &GPIO_InitStruct);

  /*Configure GPIO pins : PD0 PD1 PD4 PD5
                           PD6 PD7 */
  GPIO_InitStruct.Pin = GPIO_PIN_0|GPIO_PIN_1|GPIO_PIN_4|GPIO_PIN_5
                          |GPIO_PIN_6|GPIO_PIN_7;
  GPIO_InitStruct.Mode = GPIO_MODE_OUTPUT_PP;
  GPIO_InitStruct.Pull = GPIO_PULLDOWN;
  GPIO_InitStruct.Speed = GPIO_SPEED_FREQ_MEDIUM;
  HAL_GPIO_Init(GPIOD, &GPIO_InitStruct);

  /* EXTI interrupt init*/
  HAL_NVIC_SetPriority(EXTI0_IRQn, 2, 0);
  HAL_NVIC_EnableIRQ(EXTI0_IRQn);

  HAL_NVIC_SetPriority(EXTI1_IRQn, 2, 0);
  HAL_NVIC_EnableIRQ(EXTI1_IRQn);

  HAL_NVIC_SetPriority(EXTI2_TSC_IRQn, 2, 0);
  HAL_NVIC_EnableIRQ(EXTI2_TSC_IRQn);

  HAL_NVIC_SetPriority(EXTI3_IRQn, 2, 0);
  HAL_NVIC_EnableIRQ(EXTI3_IRQn);

}

void Error_Handler(void)
{
  __disable_irq();
  while (1)
  {
  }
}

#ifdef  USE_FULL_ASSERT
/**
  * @brief  Reports the name of the source file and the source line number
  *         where the assert_param error has occurred.
  * @param  file: pointer to the source file name
  * @param  line: assert_param error line source number
  * @retval None
  */
void assert_failed(uint8_t *file, uint32_t line)
{
  /* USER CODE BEGIN 6 */
  /* User can add his own implementation to report the file name and line number,
     ex: print("Wrong parameters value: file %s on line %d\r\n", file, line) */
  /* USER CODE END 6 */
}
#endif /* USE_FULL_ASSERT */

/************************ (C) COPYRIGHT STMicroelectronics *****END OF FILE****/
